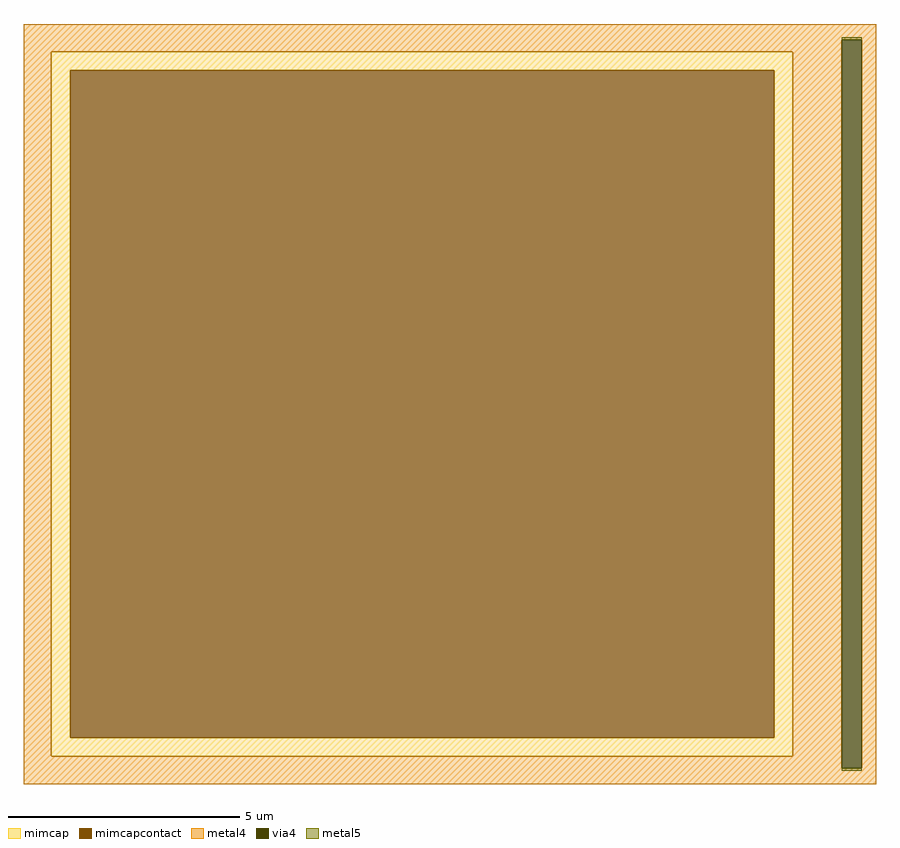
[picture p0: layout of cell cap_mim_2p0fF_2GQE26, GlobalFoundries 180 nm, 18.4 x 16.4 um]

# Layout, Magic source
magic
tech gf180mcuC
magscale 1 10
<< mimcap >>
rect -1720 1440 1480 1520
rect -1720 -1440 -1640 1440
rect 1400 -1440 1480 1440
rect -1720 -1520 1480 -1440
<< mimcapcontact >>
rect -1640 -1440 1400 1440
<< metal4 >>
rect -1840 1573 1840 1640
rect -1840 1520 1690 1573
rect -1840 -1520 -1720 1520
rect 1480 -1520 1690 1520
rect -1840 -1573 1690 -1520
rect 1778 -1573 1840 1573
rect -1840 -1640 1840 -1573
<< via4 >>
rect 1690 -1573 1778 1573
<< metal5 >>
rect 1690 1573 1778 1583
rect 1690 -1583 1778 -1573
<< properties >>
string FIXED_BBOX -1840 -1640 1600 1640
string gencell cap_mim_2p0fF
string library gf180mcu
string parameters w 16 l 15.2 val 7.328k carea 25.00 cperi 20.00 nx 1 ny 1 dummy 0 square 0 lmin 5.00 wmin 5.00 lmax 100.0 wmax 100.0 dc 0 bconnect 1 tconnect 1
<< end >>
